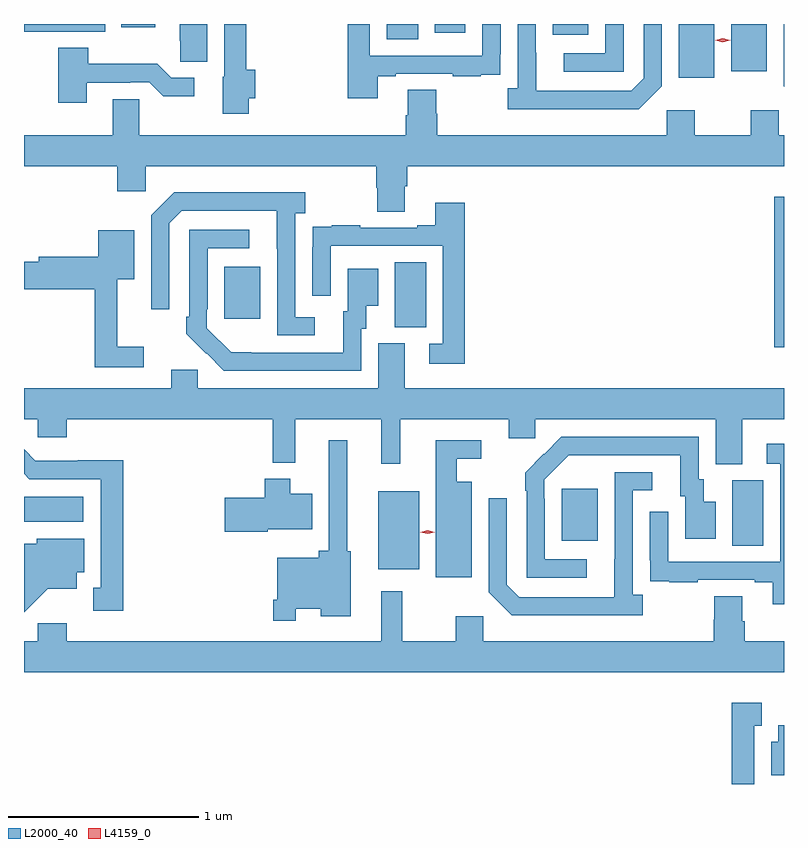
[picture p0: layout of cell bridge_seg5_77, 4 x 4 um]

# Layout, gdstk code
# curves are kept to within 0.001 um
import gdstk
lib = gdstk.Library(unit=1e-6, precision=1e-09)
def R(c, l, rs):  # rectangles x0, y0, x1, y1
    for r in rs: c.add(gdstk.rectangle(r[:2], r[2:], *l))
def P(c, l, *ps):  # polygons
    for p in ps: c.add(gdstk.Polygon(p, *l))
L2000_40 = (2000, 40)
L4159_0 = (4159, 0)

bridge_seg5_77 = lib.new_cell('bridge_seg5_77')
R(bridge_seg5_77, L2000_40, [(134.195,906.587,134.41,906.997), (136.058,906.712,136.222,907.056), (135.161,906.737,135.349,907.012), (132.33,906.836,132.643,906.97), (136.278,907.757,136.33,908.548), (134.282,907.861,134.446,908.204), (133.385,907.905,133.573,908.179), (136.052,909.209,136.24,909.457), (134.24,909.376,134.404,909.457), (135.113,909.401,135.301,909.457), (134.492,909.411,134.653,909.457), (132.33,909.416,132.758,909.457), (132.843,909.44,133.021,909.457)])
P(bridge_seg5_77, L2000_40, [(134.191,909.183),(134.287,909.183),(134.287,909.195),(134.587,909.195),(134.587,909.183),(134.735,909.183),(134.735,909.189),(134.837,909.189),(134.837,909.298),(134.838,909.298),(134.838,909.457),(134.742,909.457),(134.742,909.291),(134.151,909.291),(134.151,909.457),(134.035,909.457),(134.035,909.066),(134.191,909.066)],
  [(133.512,909.066),(133.547,909.066),(133.547,909.215),(133.499,909.215),(133.499,909.457),(133.383,909.457),(133.383,909.18),(133.376,909.18),(133.376,908.984),(133.512,908.984)],
  [(135.687,909.129),(135.687,909.457),(135.591,909.457),(135.591,909.171),(135.525,909.105),(135.025,909.105),(135.024,909.457),(134.928,909.457),(134.928,909.118),(134.877,909.118),(134.877,909.008),(135.566,909.008)],
  [(135.486,909.457),(135.39,909.457),(135.39,909.303),(135.171,909.303),(135.171,909.207),(135.486,909.207)],
  [(133.294,909.457),(133.151,909.457),(133.151,909.37),(133.152,909.37),(133.152,909.259),(133.294,909.259)],
  [(135.964,909.413),(135.963,909.413),(135.963,909.457),(135.776,909.457),(135.776,909.173),(135.964,909.173)],
  [(136.33,909.457),(136.329,909.457),(136.329,909.129),(136.33,909.128)],
  [(132.661,909.147),(132.89,909.147),(132.89,909.15),(132.99,909.15),(133.063,909.077),(133.225,909.077),(133.225,909.174),(133.104,909.174),(133.031,909.247),(132.669,909.247),(132.669,909.331),(132.509,909.331),(132.509,909.042),(132.661,909.042)],
  [(134.335,908.602),(134.348,908.602),(134.348,908.708),(136.33,908.708),(136.33,908.872),(136.302,908.872),(136.302,909.004),(136.156,909.004),(136.156,908.872),(135.861,908.872),(135.861,909.004),(135.714,909.004),(135.714,908.872),(134.504,908.872),(134.504,908.985),(134.499,908.985),(134.499,909.11),(134.351,909.11),(134.351,908.978),(134.339,908.978),(134.339,908.872),(132.936,908.872),(132.936,909.062),(132.797,909.062),(132.797,908.872),(132.33,908.872),(132.33,908.708),(132.821,908.708),(132.821,908.577),(132.972,908.577),(132.972,908.708),(134.183,908.708),(134.183,908.595),(134.188,908.595),(134.188,908.47),(134.335,908.47)],
  [(133.861,907.914),(133.758,907.914),(133.758,908.462),(133.81,908.462),(133.81,908.572),(133.12,908.572),(132.999,908.451),(132.999,907.956),(133.095,907.956),(133.095,908.409),(133.161,908.475),(133.661,908.475),(133.662,907.818),(133.861,907.818)],
  [(134.651,908.515),(134.495,908.515),(134.495,908.398),(134.399,908.398),(134.399,908.385),(134.099,908.385),(134.099,908.398),(133.951,908.398),(133.951,908.391),(133.849,908.391),(133.849,908.282),(133.848,908.282),(133.848,908.028),(133.944,908.028),(133.944,908.289),(134.535,908.289),(134.535,907.773),(134.463,907.773),(134.463,907.668),(134.651,907.668)],
  [(134.106,907.854),(134.131,907.854),(134.131,907.973),(134.194,907.973),(134.194,908.17),(134.033,908.17),(134.033,907.944),(134.009,907.944),(134.009,907.728),(133.422,907.729),(133.293,907.857),(133.293,907.957),(133.296,907.957),(133.296,908.277),(133.516,908.277),(133.516,908.373),(133.2,908.373),(133.2,907.915),(133.185,907.915),(133.185,907.827),(133.382,907.632),(134.106,907.632)],
  [(132.961,907.759),(132.821,907.759),(132.821,908.114),(132.91,908.114),(132.91,908.371),(132.722,908.371),(132.722,908.232),(132.407,908.232),(132.407,908.207),(132.33,908.207),(132.33,908.06),(132.703,908.06),(132.703,907.65),(132.961,907.65)],
  [(136.111,907.376),(136.33,907.376),(136.33,907.54),(134.335,907.54),(134.335,907.776),(134.195,907.776),(134.195,907.54),(133.245,907.54),(133.245,907.638),(133.106,907.638),(133.106,907.54),(132.33,907.54),(132.33,907.376),(132.402,907.376),(132.402,907.283),(132.554,907.283),(132.554,907.376),(133.639,907.376),(133.639,907.148),(133.757,907.148),(133.757,907.376),(134.21,907.376),(134.21,907.143),(134.309,907.143),(134.309,907.376),(134.882,907.376),(134.882,907.278),(135.021,907.278),(135.021,907.376),(135.971,907.376),(135.971,907.141),(136.111,907.141)],
  [(135.292,906.639),(135.072,906.639),(135.072,906.959),(135.069,906.959),(135.069,907.059),(135.198,907.188),(135.785,907.188),(135.785,906.972),(135.809,906.972),(135.809,906.747),(135.97,906.747),(135.97,906.943),(135.907,906.943),(135.907,907.062),(135.882,907.062),(135.882,907.284),(135.158,907.284),(135.067,907.193),(135.066,907.194),(134.969,907.096),(134.969,907.001),(134.976,907.001),(134.976,906.543),(135.292,906.543)],
  [(133.759,906.38),(133.892,906.38),(133.892,906.341),(134.05,906.341),(134.05,906.681),(134.032,906.681),(134.032,907.267),(133.935,907.267),(133.935,906.685),(133.88,906.685),(133.88,906.649),(133.662,906.649),(133.662,906.427),(133.642,906.427),(133.642,906.315),(133.759,906.315)],
  [(134.686,907.048),(134.608,907.048),(134.608,907.17),(134.737,907.17),(134.737,907.266),(134.498,907.266),(134.498,906.545),(134.686,906.545)],
  [(136.33,907.249),(136.239,907.249),(136.239,907.143),(136.311,907.143),(136.311,906.627),(135.72,906.627),(135.72,906.889),(135.624,906.889),(135.624,906.634),(135.625,906.634),(135.625,906.525),(135.727,906.525),(135.727,906.519),(135.875,906.519),(135.875,906.531),(136.175,906.531),(136.175,906.519),(136.271,906.519),(136.271,906.402),(136.33,906.402)],
  [(132.853,907.16),(132.612,907.16),(132.612,907.158),(132.39,907.158),(132.33,907.218),(132.33,907.089),(132.357,907.062),(132.734,907.062),(132.734,906.489),(132.695,906.489),(132.695,906.369),(132.853,906.369)],
  [(135.586,906.454),(135.534,906.454),(135.534,907.002),(135.637,907.002),(135.637,907.098),(135.438,907.098),(135.437,906.441),(134.937,906.441),(134.871,906.507),(134.871,906.961),(134.775,906.961),(134.775,906.465),(134.896,906.344),(135.586,906.344)],
  [(133.614,906.797),(133.846,906.797),(133.846,906.985),(133.732,906.985),(133.732,907.063),(133.598,907.063),(133.598,906.963),(133.386,906.963),(133.386,906.785),(133.614,906.785)],
  [(132.352,906.383),(132.455,906.485),(132.607,906.485),(132.607,906.572),(132.646,906.572),(132.646,906.748),(132.396,906.748),(132.396,906.721),(132.33,906.721),(132.33,906.361)],
  [(135.964,906.446),(135.964,906.321),(135.959,906.321),(135.959,906.208),(134.748,906.208),(134.748,906.34),(134.602,906.34),(134.602,906.208),(134.32,906.208),(134.32,906.472),(134.21,906.472),(134.21,906.208),(132.554,906.208),(132.554,906.304),(132.402,906.304),(132.402,906.208),(132.33,906.208),(132.33,906.044),(136.33,906.044),(136.33,906.208),(136.124,906.208),(136.124,906.314),(136.111,906.314),(136.111,906.446)],
  [(136.174,905.763),(136.213,905.763),(136.213,905.884),(136.056,905.884),(136.056,905.457),(136.174,905.457)],
  [(136.33,905.767),(136.301,905.767),(136.301,905.68),(136.262,905.68),(136.262,905.504),(136.33,905.504)])
P(bridge_seg5_77, L4159_0, [(136.008,909.362),(135.968,909.371),(135.968,909.371),(135.968,909.372),(136.008,909.382),(136.048,909.372),(136.048,909.372),(136.048,909.372)],
  [(134.454,906.773),(134.416,906.782),(134.416,906.783),(134.416,906.783),(134.454,906.793),(134.493,906.783),(134.493,906.783),(134.493,906.782)])

lib.write_gds('bridge_seg5_77.gds')
